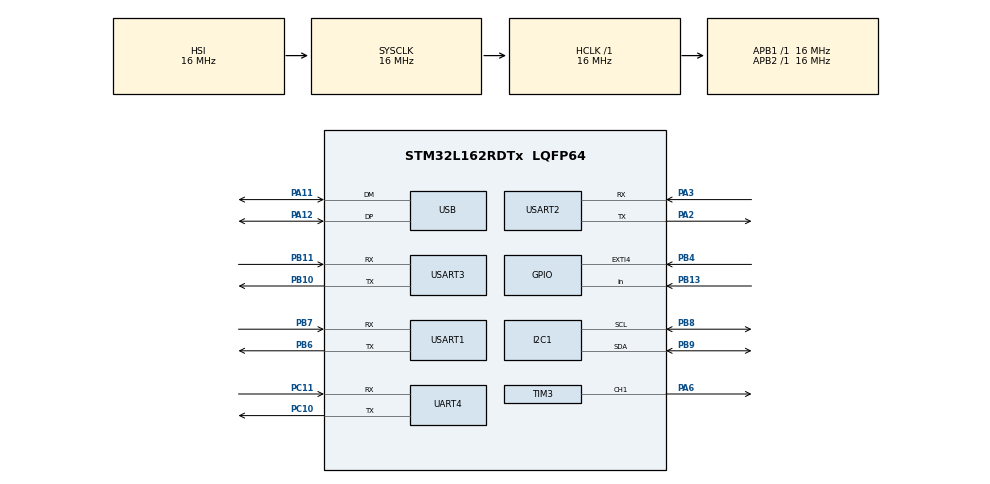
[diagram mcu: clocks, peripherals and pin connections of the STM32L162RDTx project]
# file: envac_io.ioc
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Mcu.Family=STM32L1
Mcu.Name=STM32L162RDTx
Mcu.Package=LQFP64
NVIC.EXTI4_IRQn=true\:0\:0\:false\:false\:true\:true\:true\:true
NVIC.I2C1_EV_IRQn=true\:0\:0\:false\:false\:true\:true\:true\:true
NVIC.PriorityGroup=NVIC_PRIORITYGROUP_4
NVIC.TIM2_IRQn=true\:0\:0\:false\:false\:true\:true\:true\:true
NVIC.TIM3_IRQn=true\:0\:0\:false\:false\:true\:true\:true\:true
NVIC.UART4_IRQn=true\:0\:0\:false\:false\:true\:true\:true\:true
NVIC.USART1_IRQn=true\:0\:0\:false\:false\:true\:true\:true\:true
NVIC.USART2_IRQn=true\:0\:0\:false\:false\:true\:true\:true\:true
NVIC.USART3_IRQn=true\:0\:0\:false\:false\:true\:true\:true\:true
PA11.Mode=Device
PA11.Signal=USB_DM
PA12.Mode=Device
PA12.Signal=USB_DP
PA13.Mode=Serial_Wire
PA13.Signal=SYS_JTMS-SWDIO
PA14.Mode=Serial_Wire
PA14.Signal=SYS_JTCK-SWCLK
PA2.Mode=Asynchronous
PA2.Signal=USART2_TX
PA3.Mode=Asynchronous
PA3.Signal=USART2_RX
PA6.Signal=S_TIM3_CH1
PB10.Mode=Asynchronous
PB10.Signal=USART3_TX
PB11.Mode=Asynchronous
PB11.Signal=USART3_RX
PB13.Signal=GPIO_Input
PB3.Signal=SYS_JTDO-TRACESWO
PB4.Signal=GPXTI4
PB6.Mode=Asynchronous
PB6.Signal=USART1_TX
PB7.Mode=Asynchronous
PB7.Signal=USART1_RX
PB8.Mode=I2C
PB8.Signal=I2C1_SCL
PB9.Mode=I2C
PB9.Signal=I2C1_SDA
PC10.Mode=Asynchronous
PC10.Signal=UART4_TX
PC11.Mode=Asynchronous
PC11.Signal=UART4_RX
PH0-OSC_IN.Mode=HSE-External-Oscillator
PH0-OSC_IN.Signal=RCC_OSC_IN
PH1-OSC_OUT.Mode=HSE-External-Oscillator
PH1-OSC_OUT.Signal=RCC_OSC_OUT
ProjectManager.HeapSize=0x200
ProjectManager.StackSize=0x400
ProjectManager.TargetToolchain=STM32CubeIDE
RCC.48MHZClocksFreq_Value=48000000
RCC.AHBFreq_Value=16000000
RCC.APB1Freq_Value=16000000
RCC.APB1TimFreq_Value=16000000
RCC.APB2Freq_Value=16000000
RCC.APB2TimFreq_Value=16000000
RCC.HCLKFreq_Value=16000000
RCC.HSE_VALUE=8000000
RCC.HSI_VALUE=16000000
RCC.LSE_VALUE=32768
RCC.MSI_VALUE=2097000
RCC.PLLDIV=RCC_PLL_DIV4
RCC.PLLMUL=RCC_PLL_MUL12
RCC.SYSCLKFreq_VALUE=16000000
RCC.SYSCLKSource=RCC_SYSCLKSOURCE_HSI
RCC.VCOOutputFreq_Value=96000000
SH.S_TIM3_CH1.0=TIM3_CH1,PWM Generation1 CH1
TIM2.AutoReloadPreload=TIM_AUTORELOAD_PRELOAD_ENABLE
TIM2.Period=1000-1
TIM2.Prescaler=1600
TIM3.AutoReloadPreload=TIM_AUTORELOAD_PRELOAD_ENABLE
TIM3.Channel-PWM\ Generation1\ CH1=TIM_CHANNEL_1
TIM3.Period=10000-1
TIM3.Prescaler=2400
UART4.VirtualMode=Asynchronous
USART1.VirtualMode=VM_ASYNC
USART2.VirtualMode=VM_ASYNC
USART3.VirtualMode=VM_ASYNC
VP_TIM2_VS_ClockSourceINT.Mode=Internal
VP_TIM3_VS_ClockSourceINT.Mode=Internal
board=custom

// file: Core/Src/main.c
/* USER CODE BEGIN Header */
/**
  ******************************************************************************
  * @file           : main.c
  * @brief          : Main program body
  ******************************************************************************
  * @attention
  *
  * Copyright (c) 2024 STMicroelectronics.
  * All rights reserved.
  *
  * This software is licensed under terms that can be found in the LICENSE file
  * in the root directory of this software component.
  * If no LICENSE file comes with this software, it is provided AS-IS.
  *
  ******************************************************************************
  */
/* USER CODE END Header */
#include "main.h"

/* USER CODE BEGIN Includes */
//#include "stm32l1xx_hal_iwdg.h"
#include "stm32l1xx_hal.h"
#include "stm32l1xx.h"
#include "stm32l1xx_it.h"
#include "stm32l1xx_hal_tim.h"

#include <stdint.h>
#include <stdio.h>
#include <stdlib.h>
#include <string.h>
#include <stdarg.h>
#include <math.h>
#include "console.h"
#include "usart.h"

/* USER CODE END Includes */

/* USER CODE BEGIN PTD */
int _write(int32_t file, uint8_t *ptr, int32_t len) {
  if(HAL_UART_Transmit(&huart1, ptr, len, 10) == HAL_OK) return len;
  else return 0;
}
/* USER CODE END PTD */

I2C_HandleTypeDef hi2c1;
TIM_HandleTypeDef htim2;
TIM_HandleTypeDef htim3;
IWDG_HandleTypeDef hiwdg;

uint8_t rx_data;
uint8_t host_rx_data;
uint8_t rfid_rx_data;

int SystemTime;
int prevTemperatureLevel;
PCD_HandleTypeDef hpcd_USB_FS;
uint8_t LED_Mode=0;
uint8_t LED_Data=0;
uint32_t g_1ms_cnt =0;
uint8_t g_1ms_flag =0;
uint32_t g_2ms_cnt =0;
uint8_t g_2ms_flag =0;
uint32_t g_10ms_cnt =0;
uint8_t g_10ms_flag =0;
uint32_t g_50ms_cnt =0;
uint8_t g_50ms_flag =0;
uint32_t g_100ms_cnt =0;
uint8_t g_100ms_flag =0;
uint32_t g_500ms_cnt =0;
uint8_t g_500ms_flag =0;
uint32_t g_1sec_cnt =0;
uint8_t g_1sec_flag =0;

void SystemClock_Config(void);
static void MX_GPIO_Init(void);
static void MX_USB_PCD_Init(void);
static void MX_TIM3_Init(void);
static void MX_I2C1_Init(void);
static void MX_TIM2_Init(void);
/* USER CODE BEGIN PFP */
static HAL_StatusTypeDef HAL_I2C_Temperature_PCT2075_Read(uint16_t MemAddress, uint8_t * pData, uint16_t Size, uint32_t Timeout)
{
    return HAL_I2C_Mem_Read(&hi2c1, (uint16_t)I2C_SLAVE_ADDRESS__THERMISTOR_PCT2075, MemAddress, (uint16_t)I2C_MEMADD_SIZE_8BIT, pData, Size, Timeout);
}

/* USER CODE END PFP */

/* USER CODE BEGIN 0 */

/**
  * @brief IWDG Initialization Function
  * @param None
  * @retval None
  */
static void MX_IWDG_Init(void)
{

  /* USER CODE BEGIN IWDG_Init 0 */

  /* USER CODE END IWDG_Init 0 */

  /* USER CODE BEGIN IWDG_Init 1 */
  //lsi : 37Khz
  // 1/37k * 4 * 4096 --> 약 400ms
  /* USER CODE END IWDG_Init 1 */
  hiwdg.Instance = IWDG;
  hiwdg.Init.Prescaler = IWDG_PRESCALER_4;
  hiwdg.Init.Reload = 4095;
  if (HAL_IWDG_Init(&hiwdg) != HAL_OK)
  {
    Error_Handler();
  }
  /* USER CODE BEGIN IWDG_Init 2 */

  /* USER CODE END IWDG_Init 2 */

}

void HAL_TIM_PeriodElapsedCallback(TIM_HandleTypeDef* htim)
{
  if(htim->Instance == htim2.Instance) {
    //printf("\r\ntesttest\r\n");
    g_1ms_flag =1;
		g_2ms_cnt++;
		if(g_2ms_cnt >= 2)  {
			g_2ms_flag = 1;
			g_10ms_cnt++;
			g_2ms_cnt =0;
		}
		if(g_10ms_cnt >= 5)	{
			g_50ms_cnt++;
			g_10ms_flag =1;
			g_10ms_cnt =0;
		}
		if(g_50ms_cnt >= 5) {
			g_100ms_cnt++;
			g_50ms_flag =1;
			g_50ms_cnt =0;
		}
		if(g_100ms_cnt >= 2) {
			g_500ms_cnt++;
			g_100ms_flag =1;
			g_100ms_cnt =0;
		}
    if(g_500ms_cnt >= 5) {
      g_1sec_cnt++;
      g_500ms_flag =1;
      g_500ms_cnt =0;
    }
		if(g_1sec_cnt >= 2) {
			g_1sec_flag =1;
			g_1sec_cnt =0;
		}
  }
}

void StatusLED(uint8_t mode)
{
	LED_Mode++;
	if(mode == 1) {
		LED_Data = 0x80;
		LED_Mode &= 0x07;
	}
	else if (mode == 2) {
		LED_Data = 0xA0;
		LED_Mode &= 0x07;
	}

	if (LED_Data & (0x80 >> LED_Mode))	HAL_GPIO_WritePin(SYS_LED_GPIO_Port, SYS_LED_Pin, GPIO_PIN_SET);
	else								                HAL_GPIO_WritePin(SYS_LED_GPIO_Port, SYS_LED_Pin, GPIO_PIN_RESET);
}

//100ms
void HAL_SYSTICK_Callback(void)
{

}

uint8_t prev_sensor =0;
uint8_t curr_sensor =0;

uint8_t compare_sensor(void)
{
  curr_sensor = HAL_GPIO_ReadPin(PIR_SENSOR_Port, PIR_SENSOR);
  if(prev_sensor != curr_sensor) {
    if(curr_sensor) {
      printf("\r\ndetected sensor");
    }
    else {
      printf("\r\nrelease sensor");
    }
    event_comm_detect_sensor(curr_sensor);
    prev_sensor = curr_sensor;
  }
  return 0;
}
/* USER CODE END 0 */

int main(void)
{

  /* MCU Configuration--------------------------------------------------------*/

  /* Reset of all peripherals, Initializes the Flash interface and the Systick. */
  HAL_Init();

  /* Configure the system clock */
  SystemClock_Config();

  /* USER CODE BEGIN SysInit */
  //TIM3 : LIGHT_PWM
  //I2C1 : Temperature sensor
  //USART1 : console debug
  //USART2 :

  /* USER CODE END SysInit */

  /* Initialize all configured peripherals */
  MX_GPIO_Init();
  //MX_USB_PCD_Init();
  MX_TIM3_Init();
  MX_I2C1_Init();
  MX_TIM2_Init();
  MX_UART4_Init();
  MX_USART1_UART_Init();
  MX_USART2_UART_Init();
  MX_USART3_UART_Init();
  /* USER CODE BEGIN 2 */
  usart_queue_init();
  printf("\r\nusart1 initial done.");
  printf("\r\nusart2 initial done.");
  printf("\r\nusart3 initial done.");
  printf("\r\nsoftware started.");
  print_SystemClock();
  HAL_TIM_PWM_Start(&htim3, TIM_CHANNEL_1);
  HAL_TIM_Base_Start_IT(&htim2);
  MX_IWDG_Init();
  HAL_UART_Receive_IT(&huart1, &rx_data, 1);
  HAL_UART_Receive_IT(&huart2, &host_rx_data, 1);
  HAL_UART_Receive_IT(&huart4, &rfid_rx_data, 1);
  MX_IWDG_Init();

  /* USER CODE END 2 */

  /* Infinite loop */
  while (1)
  {

    /* USER CODE BEGIN 3 */
    read_usart();
    if(g_100ms_flag) {
      StatusLED(2);
      HAL_IWDG_Refresh(&hiwdg);
      g_100ms_flag =0;
    }
    if (g_500ms_flag) {
      g_500ms_flag =0;
      compare_sensor();
    }
    if(g_1sec_flag) {
      EnvacIO.temperature = GetThermistorLevel();
      g_1sec_flag =0;
    }
  }
  /* USER CODE END 3 */
}

void SystemClock_Config(void)
{
  RCC_OscInitTypeDef RCC_OscInitStruct = {0};
  RCC_ClkInitTypeDef RCC_ClkInitStruct = {0};

  /** Configure the main internal regulator output voltage
  */
  __HAL_PWR_VOLTAGESCALING_CONFIG(PWR_REGULATOR_VOLTAGE_SCALE1);

  /** Initializes the RCC Oscillators according to the specified parameters
  * in the RCC_OscInitTypeDef structure.
  */
  RCC_OscInitStruct.OscillatorType = RCC_OSCILLATORTYPE_HSI|RCC_OSCILLATORTYPE_LSI;
  RCC_OscInitStruct.HSIState = RCC_HSI_ON;
  RCC_OscInitStruct.HSICalibrationValue = RCC_HSICALIBRATION_DEFAULT;
  RCC_OscInitStruct.LSIState = RCC_LSI_ON;
  RCC_OscInitStruct.PLL.PLLState = RCC_PLL_NONE;
  if (HAL_RCC_OscConfig(&RCC_OscInitStruct) != HAL_OK)
  {
    Error_Handler();
  }

  /** Initializes the CPU, AHB and APB buses clocks
  */
  RCC_ClkInitStruct.ClockType = RCC_CLOCKTYPE_HCLK|RCC_CLOCKTYPE_SYSCLK
                              |RCC_CLOCKTYPE_PCLK1|RCC_CLOCKTYPE_PCLK2;
  RCC_ClkInitStruct.SYSCLKSource = RCC_SYSCLKSOURCE_HSI;
  RCC_ClkInitStruct.AHBCLKDivider = RCC_SYSCLK_DIV1;
  RCC_ClkInitStruct.APB1CLKDivider = RCC_HCLK_DIV1;
  RCC_ClkInitStruct.APB2CLKDivider = RCC_HCLK_DIV1;

  if (HAL_RCC_ClockConfig(&RCC_ClkInitStruct, FLASH_LATENCY_0) != HAL_OK)
  {
    Error_Handler();
  }
}

static void MX_I2C1_Init(void)
{

  hi2c1.Instance = I2C1;
  hi2c1.Init.ClockSpeed = 10000;
  hi2c1.Init.DutyCycle = I2C_DUTYCYCLE_2;
  hi2c1.Init.OwnAddress1 = 0;
  hi2c1.Init.AddressingMode = I2C_ADDRESSINGMODE_7BIT;
  hi2c1.Init.DualAddressMode = I2C_DUALADDRESS_DISABLE;
  hi2c1.Init.OwnAddress2 = 0;
  hi2c1.Init.GeneralCallMode = I2C_GENERALCALL_DISABLE;
  hi2c1.Init.NoStretchMode = I2C_NOSTRETCH_DISABLE;
  if (HAL_I2C_Init(&hi2c1) != HAL_OK)
  {
    Error_Handler();
  }

}

static void MX_TIM2_Init(void)
{

  TIM_ClockConfigTypeDef sClockSourceConfig = {0};
  TIM_MasterConfigTypeDef sMasterConfig = {0};

  htim2.Instance = TIM2;
  htim2.Init.Prescaler = 16;
  htim2.Init.CounterMode = TIM_COUNTERMODE_UP;
  htim2.Init.Period = 1000-1;
  htim2.Init.ClockDivision = TIM_CLOCKDIVISION_DIV1;
  htim2.Init.AutoReloadPreload = TIM_AUTORELOAD_PRELOAD_ENABLE;
  if (HAL_TIM_Base_Init(&htim2) != HAL_OK)
  {
    Error_Handler();
  }
  sClockSourceConfig.ClockSource = TIM_CLOCKSOURCE_INTERNAL;
  if (HAL_TIM_ConfigClockSource(&htim2, &sClockSourceConfig) != HAL_OK)
  {
    Error_Handler();
  }
  sMasterConfig.MasterOutputTrigger = TIM_TRGO_RESET;
  sMasterConfig.MasterSlaveMode = TIM_MASTERSLAVEMODE_DISABLE;
  if (HAL_TIMEx_MasterConfigSynchronization(&htim2, &sMasterConfig) != HAL_OK)
  {
    Error_Handler();
  }

}

static void MX_TIM3_Init(void)
{

  TIM_ClockConfigTypeDef sClockSourceConfig = {0};
  TIM_MasterConfigTypeDef sMasterConfig = {0};
  TIM_OC_InitTypeDef sConfigOC = {0};

  htim3.Instance = TIM3;
  htim3.Init.Prescaler = 16;
  htim3.Init.CounterMode = TIM_COUNTERMODE_UP;
  htim3.Init.Period = 1000-1;
  htim3.Init.ClockDivision = TIM_CLOCKDIVISION_DIV1;
  htim3.Init.AutoReloadPreload = TIM_AUTORELOAD_PRELOAD_ENABLE;
  if (HAL_TIM_Base_Init(&htim3) != HAL_OK)
  {
    Error_Handler();
  }
  sClockSourceConfig.ClockSource = TIM_CLOCKSOURCE_INTERNAL;
  if (HAL_TIM_ConfigClockSource(&htim3, &sClockSourceConfig) != HAL_OK)
  {
    Error_Handler();
  }
  if (HAL_TIM_PWM_Init(&htim3) != HAL_OK)
  {
    Error_Handler();
  }
  sMasterConfig.MasterOutputTrigger = TIM_TRGO_RESET;
  sMasterConfig.MasterSlaveMode = TIM_MASTERSLAVEMODE_DISABLE;
  if (HAL_TIMEx_MasterConfigSynchronization(&htim3, &sMasterConfig) != HAL_OK)
  {
    Error_Handler();
  }
  sConfigOC.OCMode = TIM_OCMODE_PWM1;
  sConfigOC.Pulse = 0;
  sConfigOC.OCPolarity = TIM_OCPOLARITY_HIGH;
  sConfigOC.OCFastMode = TIM_OCFAST_DISABLE;
  if (HAL_TIM_PWM_ConfigChannel(&htim3, &sConfigOC, TIM_CHANNEL_1) != HAL_OK)
  {
    Error_Handler();
  }
  HAL_TIM_MspPostInit(&htim3);

}

static void MX_USB_PCD_Init(void)
{

  hpcd_USB_FS.Instance = USB;
  hpcd_USB_FS.Init.dev_endpoints = 8;
  hpcd_USB_FS.Init.speed = PCD_SPEED_FULL;
  hpcd_USB_FS.Init.phy_itface = PCD_PHY_EMBEDDED;
  hpcd_USB_FS.Init.low_power_enable = DISABLE;
  hpcd_USB_FS.Init.battery_charging_enable = DISABLE;
  if (HAL_PCD_Init(&hpcd_USB_FS) != HAL_OK)
  {
    Error_Handler();
  }

}

static void MX_GPIO_Init(void)
{
  GPIO_InitTypeDef GPIO_InitStruct = {0};

  /* GPIO Ports Clock Enable */
  __HAL_RCC_GPIOH_CLK_ENABLE();
  __HAL_RCC_GPIOA_CLK_ENABLE();
  __HAL_RCC_GPIOB_CLK_ENABLE();
  __HAL_RCC_GPIOC_CLK_ENABLE();

  /*Configure GPIO pin : PB13 */
  GPIO_InitStruct.Pin = GPIO_PIN_13;
  GPIO_InitStruct.Mode = GPIO_MODE_INPUT;
  GPIO_InitStruct.Pull = GPIO_PULLDOWN;
  HAL_GPIO_Init(GPIOB, &GPIO_InitStruct);

  /*Configure GPIO pin : PB4 */
  GPIO_InitStruct.Pin = GPIO_PIN_4;
  GPIO_InitStruct.Mode = GPIO_MODE_IT_RISING;
  GPIO_InitStruct.Pull = GPIO_NOPULL;
  HAL_GPIO_Init(GPIOB, &GPIO_InitStruct);

  /* EXTI interrupt init*/
  HAL_NVIC_SetPriority(EXTI4_IRQn, 0, 0);
  HAL_NVIC_EnableIRQ(EXTI4_IRQn);

/* USER CODE BEGIN MX_GPIO_Init_2 */
/*Configure GPIO pin : PB13 */
  GPIO_InitStruct.Pin = GPIO_PIN_0;
  GPIO_InitStruct.Mode = GPIO_MODE_OUTPUT_PP;
  GPIO_InitStruct.Pull = GPIO_NOPULL;
  HAL_GPIO_Init(GPIOB, &GPIO_InitStruct);
/* USER CODE END MX_GPIO_Init_2 */
}

/* USER CODE BEGIN 4 */
void print_SystemClock(void)
{
  printf("\r\nHCLK=%luHz", HAL_RCC_GetHCLKFreq());
  printf("\r\nAPB1=%luHz", HAL_RCC_GetPCLK1Freq());
  printf("\r\nAPB2=%luHz", HAL_RCC_GetPCLK2Freq());
}

void proc_SysLed(void)
{
  HAL_GPIO_WritePin(GPIOB, GPIO_PIN_0, GPIO_PIN_SET);
}

int SetLightBright(int value)
{
  if(value < 0 || value > 100) {
    EnvacIO.light_bright =0;
    value = 0;
    return -1;
  }
  else {
    EnvacIO.light_bright = value;
    TIM3->CCR1 = value*10;
    return 0;
  }
}

int8_t GetThermistorLevel(void)
{
    HAL_StatusTypeDef state;
    int8_t compute;
    uint8_t temperature[THERMISTOR_DATA_SIZE];
    uint16_t temp;

    //DEBUG_FUNC("I2C ERROR"); DEBUG("%d\r\n", state);
    state = HAL_I2C_Temperature_PCT2075_Read(THERMISTOR_ADDRESS_DATA, temperature, THERMISTOR_DATA_SIZE, 500);
    if(HAL_OK != state) {
        printf("\r\nI2C ERROR %d", state);
        return prevTemperatureLevel;
    } else {
        temp = (temperature[0] << 3) | (temperature[1] >> 5);
        if((temp & 0x400) == 0x400) {
            temp = (temp ^ 0x07FF) + 1;
            compute = (uint8_t)((double)temp * 0.125);
            compute = -compute;
        } else {
            compute = (uint8_t)((double)temp * 0.125);
        }
        prevTemperatureLevel = compute;
        //printf("\r\nTEMPERATURE LEVEL(%d C)", compute);

        return compute;
    }
}

/* USER CODE END 4 */

void Error_Handler(void)
{
  /* USER CODE BEGIN Error_Handler_Debug */
  /* User can add his own implementation to report the HAL error return state */
  __disable_irq();
  while (1)
  {
    HAL_NVIC_SystemReset();
  }
  /* USER CODE END Error_Handler_Debug */
}

#ifdef  USE_FULL_ASSERT
/**
  * @brief  Reports the name of the source file and the source line number
  *         where the assert_param error has occurred.
  * @param  file: pointer to the source file name
  * @param  line: assert_param error line source number
  * @retval None
  */
void assert_failed(uint8_t *file, uint32_t line)
{
  /* USER CODE BEGIN 6 */
  /* User can add his own implementation to report the file name and line number,
     ex: printf("Wrong parameters value: file %s on line %d\r\n", file, line) */
     printf("\r\n****Wrong parameters value: file %s on line %d****\r\n", file, line);
     HAL_NVIC_SystemReset();
  /* USER CODE END 6 */
}
#endif /* USE_FULL_ASSERT */
